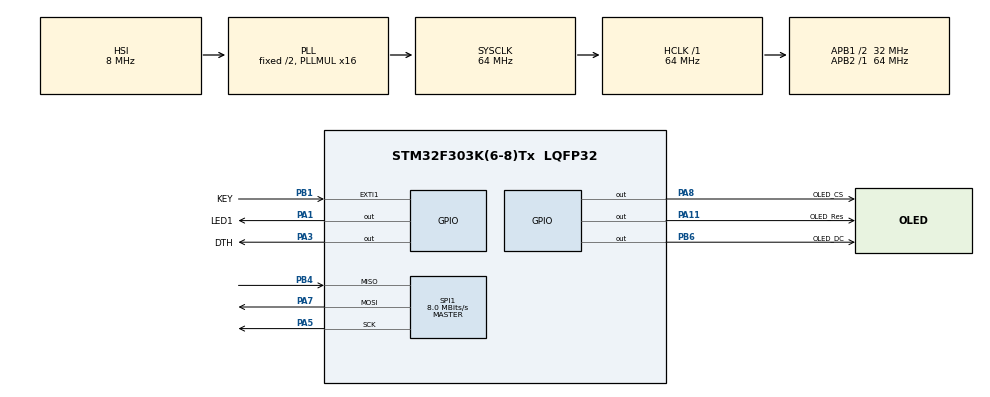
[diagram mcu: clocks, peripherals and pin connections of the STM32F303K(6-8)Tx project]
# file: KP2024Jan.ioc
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Mcu.Family=STM32F3
Mcu.Name=STM32F303K(6-8)Tx
Mcu.Package=LQFP32
NVIC.EXTI1_IRQn=true\:0\:0\:true\:false\:true\:true\:true\:true
NVIC.PriorityGroup=NVIC_PRIORITYGROUP_4
NVIC.TIM3_IRQn=true\:0\:0\:false\:false\:true\:true\:true\:true
PA1.GPIO_Label=LED1
PA1.Signal=GPIO_Output
PA11.GPIO_Label=OLED_Res
PA11.GPIO_Speed=GPIO_SPEED_FREQ_HIGH
PA11.Signal=GPIO_Output
PA3.GPIO_Label=DTH
PA3.Signal=GPIO_Output
PA5.Mode=Full_Duplex_Master
PA5.Signal=SPI1_SCK
PA7.Mode=Full_Duplex_Master
PA7.Signal=SPI1_MOSI
PA8.GPIO_Label=OLED_CS
PA8.Signal=GPIO_Output
PB1.GPIO_Label=KEY
PB1.GPIO_PuPd=GPIO_PULLUP
PB1.Signal=GPXTI1
PB4.Mode=Full_Duplex_Master
PB4.Signal=SPI1_MISO
PB6.GPIO_Label=OLED_DC
PB6.GPIO_Speed=GPIO_SPEED_FREQ_HIGH
PB6.Signal=GPIO_Output
ProjectManager.HeapSize=0x200
ProjectManager.StackSize=0x400
ProjectManager.TargetToolchain=STM32CubeIDE
RCC.AHBFreq_Value=64000000
RCC.APB1CLKDivider=RCC_HCLK_DIV2
RCC.APB1Freq_Value=32000000
RCC.APB1TimFreq_Value=64000000
RCC.APB2Freq_Value=64000000
RCC.APB2TimFreq_Value=64000000
RCC.CortexFreq_Value=64000000
RCC.HCLKFreq_Value=64000000
RCC.HSE_VALUE=8000000
RCC.HSI_VALUE=8000000
RCC.PLLMUL=RCC_PLL_MUL16
RCC.SYSCLKFreq_VALUE=64000000
RCC.SYSCLKSourceVirtual=RCC_SYSCLKSOURCE_PLLCLK
SPI1.BaudRatePrescaler=SPI_BAUDRATEPRESCALER_8
SPI1.CalculateBaudRate=8.0 MBits/s
SPI1.DataSize=SPI_DATASIZE_8BIT
SPI1.Direction=SPI_DIRECTION_2LINES
SPI1.Mode=SPI_MODE_MASTER
SPI1.VirtualType=VM_MASTER
TIM3.Period=59998
TIM3.Prescaler=63999
VP_TIM3_VS_ClockSourceINT.Mode=Internal
board=custom

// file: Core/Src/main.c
/* USER CODE BEGIN Header */
/**
 ******************************************************************************
 * @file           : main.c
 * @brief          : Main program body
 ******************************************************************************
 * @attention
 *
 * Copyright (c) 2024 STMicroelectronics.
 * All rights reserved.
 *
 * This software is licensed under terms that can be found in the LICENSE file
 * in the root directory of this software component.
 * If no LICENSE file comes with this software, it is provided AS-IS.
 *
 ******************************************************************************
 */
/* USER CODE END Header */
#include "main.h"

/* USER CODE BEGIN Includes */
#include "stdio.h"
#include "string.h"

#include "DHT.h"
#include "ssd1306.h"
#include "ssd1306_fonts.h"
#include "scheduler.h"
/* USER CODE END Includes */

SPI_HandleTypeDef hspi1;

TIM_HandleTypeDef htim3;

/* USER CODE BEGIN PV */
#define MAX_SAMPLES 60  // Зберігати останні 60 вимірювань (1 година)

typedef enum {
  DISP_TEMP,
  DISP_HUM,
  DISP_TEMP_AVG,
  DISP_HUM_AVG,
} DisplayMode_t;

float temp_buffer[MAX_SAMPLES];  // Буфер для зберігання температури
float hum_buffer[MAX_SAMPLES]; // Буфер для зберігання вологості
uint8_t buffer_index = 0;

DisplayMode_t display_mode = DISP_TEMP;

DHT_sensor dth22;
uint8_t isPrepared = 0;
/* USER CODE END PV */

void SystemClock_Config(void);
static void MX_GPIO_Init(void);
static void MX_SPI1_Init(void);
static void MX_TIM3_Init(void);
/* USER CODE BEGIN PFP */
void StartTaskByMode(void);
void MeasureTask(void);
void DisplayTempTask(void);
void DisplayHumTask(void);
void DisplayTempAvgTask(void);
void DisplayHumAvgTask(void);
/* USER CODE END PFP */

/* USER CODE BEGIN 0 */

void HAL_TIM_PeriodElapsedCallback(TIM_HandleTypeDef *htim) {
	if (htim->Instance == TIM3) {
		 SetTask(MeasureTask);
	}
}

void HAL_GPIO_EXTI_Callback(uint16_t GPIO_Pin) {
	if (GPIO_Pin == KEY_Pin) {
		display_mode = (DisplayMode_t)((display_mode + 1) % 4);
		StartTaskByMode();
	}
}

void StartTaskByMode(void) {
	switch (display_mode) {
	case DISP_TEMP:
		SetTask(DisplayTempTask);
		break;
	case DISP_HUM:
		SetTask(DisplayHumTask);
		break;
	case DISP_TEMP_AVG:
		SetTask(DisplayTempAvgTask);
		break;
	case DISP_HUM_AVG:
		SetTask(DisplayHumAvgTask);
		break;
	}
}

void UpdateDisplay(char* name, char* value) {
	ssd1306_Fill(White);
	ssd1306_SetCursor(2, 10);
	ssd1306_WriteString(name, Font_11x18, Black);
	ssd1306_SetCursor(2, 30);
	ssd1306_WriteString(value, Font_16x26, Black);
	ssd1306_UpdateScreen();
}

float CalculateAverage(float* values, uint8_t size) {
	float sum = 0;
	for (uint8_t i = 0; i < size; i++) {
		sum += values[i];
	}
	return sum / size;
}

float CalculateMaxDeviation(float* values, uint8_t size, float average) {
	float maxDeviation = 0;
	for (uint8_t i = 0; i < size; i++) {
		float deviation = fabs(values[i] - average);
		if (deviation > maxDeviation) {
			maxDeviation = deviation;
		}
	}
	return maxDeviation;
}

void MeasureTask(void) {
	DHT_data dth22Data = DHT_getData(&dth22);
	temp_buffer[buffer_index] = dth22Data.temp;
	hum_buffer[buffer_index] = dth22Data.hum;
	buffer_index = (buffer_index + 1) % MAX_SAMPLES;
	StartTaskByMode();
}

void DisplayTempTask(void) {
	char msgTemp[20];
	float current_temp = temp_buffer[buffer_index -1];
	sprintf(msgTemp, "%d'C", (uint8_t) current_temp);
	UpdateDisplay("TEMP", &msgTemp);
}

void DisplayHumTask(void) {
	char msgHum[20];
	float current_hum = hum_buffer[buffer_index - 1];
	sprintf(msgHum, "%d%%", (uint8_t) current_hum);
	UpdateDisplay("HUM", &msgHum);
}

void DisplayTempAvgTask(void) {
	float temp_average = CalculateAverage(hum_buffer, MAX_SAMPLES);
	float temp_deviation = CalculateMaxDeviation(hum_buffer, MAX_SAMPLES, temp_average);
	char msg_max_deviation[20];
	sprintf(msg_max_deviation, "%d'C", (uint8_t) temp_deviation);
	UpdateDisplay("TEMP AVG", &msg_max_deviation);
}

void DisplayHumAvgTask(void) {
	float hum_average = CalculateAverage(hum_buffer, MAX_SAMPLES);
	float hum_deviation = CalculateMaxDeviation(hum_buffer, MAX_SAMPLES, hum_average);
	char msg_max_deviation[20];
	sprintf(msg_max_deviation, "%d%%", (uint8_t) hum_deviation);
	UpdateDisplay("HUM AVG", &msg_max_deviation);
}
/* USER CODE END 0 */

int main(void) {

	/* MCU Configuration--------------------------------------------------------*/

	/* Reset of all peripherals, Initializes the Flash interface and the Systick. */
	HAL_Init();

	/* Configure the system clock */
	SystemClock_Config();

	/* Initialize all configured peripherals */
	MX_GPIO_Init();
	MX_SPI1_Init();
	MX_TIM3_Init();
	/* USER CODE BEGIN 2 */
	ssd1306_Init();

	dth22.DHT_Port = GPIOA;
	dth22.DHT_Pin = GPIO_PIN_3;
	dth22.type = DHT22;
	dth22.pullUp = GPIO_NOPULL;

	InitScheduler();
	/* USER CODE END 2 */

	/* Infinite loop */
	/* USER CODE BEGIN WHILE */
	while (1) {
		TaskManager();

		if (!isPrepared) {
			UpdateDisplay("Loading...", "");
			HAL_Delay(500);
			HAL_TIM_Base_Start_IT(&htim3);
			isPrepared = 1;
		}
		/* USER CODE END WHILE */

	}
}

void SystemClock_Config(void)
{
  RCC_OscInitTypeDef RCC_OscInitStruct = {0};
  RCC_ClkInitTypeDef RCC_ClkInitStruct = {0};

  /** Initializes the RCC Oscillators according to the specified parameters
  * in the RCC_OscInitTypeDef structure.
  */
  RCC_OscInitStruct.OscillatorType = RCC_OSCILLATORTYPE_HSI;
  RCC_OscInitStruct.HSIState = RCC_HSI_ON;
  RCC_OscInitStruct.HSICalibrationValue = RCC_HSICALIBRATION_DEFAULT;
  RCC_OscInitStruct.PLL.PLLState = RCC_PLL_ON;
  RCC_OscInitStruct.PLL.PLLSource = RCC_PLLSOURCE_HSI;
  RCC_OscInitStruct.PLL.PLLMUL = RCC_PLL_MUL16;
  if (HAL_RCC_OscConfig(&RCC_OscInitStruct) != HAL_OK)
  {
    Error_Handler();
  }

  /** Initializes the CPU, AHB and APB buses clocks
  */
  RCC_ClkInitStruct.ClockType = RCC_CLOCKTYPE_HCLK|RCC_CLOCKTYPE_SYSCLK
                              |RCC_CLOCKTYPE_PCLK1|RCC_CLOCKTYPE_PCLK2;
  RCC_ClkInitStruct.SYSCLKSource = RCC_SYSCLKSOURCE_PLLCLK;
  RCC_ClkInitStruct.AHBCLKDivider = RCC_SYSCLK_DIV1;
  RCC_ClkInitStruct.APB1CLKDivider = RCC_HCLK_DIV2;
  RCC_ClkInitStruct.APB2CLKDivider = RCC_HCLK_DIV1;

  if (HAL_RCC_ClockConfig(&RCC_ClkInitStruct, FLASH_LATENCY_2) != HAL_OK)
  {
    Error_Handler();
  }
}

static void MX_SPI1_Init(void)
{

  /* SPI1 parameter configuration*/
  hspi1.Instance = SPI1;
  hspi1.Init.Mode = SPI_MODE_MASTER;
  hspi1.Init.Direction = SPI_DIRECTION_2LINES;
  hspi1.Init.DataSize = SPI_DATASIZE_8BIT;
  hspi1.Init.CLKPolarity = SPI_POLARITY_LOW;
  hspi1.Init.CLKPhase = SPI_PHASE_1EDGE;
  hspi1.Init.NSS = SPI_NSS_SOFT;
  hspi1.Init.BaudRatePrescaler = SPI_BAUDRATEPRESCALER_8;
  hspi1.Init.FirstBit = SPI_FIRSTBIT_MSB;
  hspi1.Init.TIMode = SPI_TIMODE_DISABLE;
  hspi1.Init.CRCCalculation = SPI_CRCCALCULATION_DISABLE;
  hspi1.Init.CRCPolynomial = 7;
  hspi1.Init.CRCLength = SPI_CRC_LENGTH_DATASIZE;
  hspi1.Init.NSSPMode = SPI_NSS_PULSE_ENABLE;
  if (HAL_SPI_Init(&hspi1) != HAL_OK)
  {
    Error_Handler();
  }

}

static void MX_TIM3_Init(void)
{

  TIM_ClockConfigTypeDef sClockSourceConfig = {0};
  TIM_MasterConfigTypeDef sMasterConfig = {0};

  htim3.Instance = TIM3;
  htim3.Init.Prescaler = 63999;
  htim3.Init.CounterMode = TIM_COUNTERMODE_UP;
  htim3.Init.Period = 59998;
  htim3.Init.ClockDivision = TIM_CLOCKDIVISION_DIV1;
  htim3.Init.AutoReloadPreload = TIM_AUTORELOAD_PRELOAD_DISABLE;
  if (HAL_TIM_Base_Init(&htim3) != HAL_OK)
  {
    Error_Handler();
  }
  sClockSourceConfig.ClockSource = TIM_CLOCKSOURCE_INTERNAL;
  if (HAL_TIM_ConfigClockSource(&htim3, &sClockSourceConfig) != HAL_OK)
  {
    Error_Handler();
  }
  sMasterConfig.MasterOutputTrigger = TIM_TRGO_RESET;
  sMasterConfig.MasterSlaveMode = TIM_MASTERSLAVEMODE_DISABLE;
  if (HAL_TIMEx_MasterConfigSynchronization(&htim3, &sMasterConfig) != HAL_OK)
  {
    Error_Handler();
  }

}

static void MX_GPIO_Init(void)
{
  GPIO_InitTypeDef GPIO_InitStruct = {0};

  /* GPIO Ports Clock Enable */
  __HAL_RCC_GPIOA_CLK_ENABLE();
  __HAL_RCC_GPIOB_CLK_ENABLE();

  /*Configure GPIO pin Output Level */
  HAL_GPIO_WritePin(GPIOA, LED1_Pin|DTH_Pin|OLED_CS_Pin|OLED_Res_Pin, GPIO_PIN_RESET);

  /*Configure GPIO pin Output Level */
  HAL_GPIO_WritePin(OLED_DC_GPIO_Port, OLED_DC_Pin, GPIO_PIN_RESET);

  /*Configure GPIO pins : LED1_Pin DTH_Pin OLED_CS_Pin */
  GPIO_InitStruct.Pin = LED1_Pin|DTH_Pin|OLED_CS_Pin;
  GPIO_InitStruct.Mode = GPIO_MODE_OUTPUT_PP;
  GPIO_InitStruct.Pull = GPIO_NOPULL;
  GPIO_InitStruct.Speed = GPIO_SPEED_FREQ_LOW;
  HAL_GPIO_Init(GPIOA, &GPIO_InitStruct);

  /*Configure GPIO pin : KEY_Pin */
  GPIO_InitStruct.Pin = KEY_Pin;
  GPIO_InitStruct.Mode = GPIO_MODE_IT_RISING;
  GPIO_InitStruct.Pull = GPIO_PULLUP;
  HAL_GPIO_Init(KEY_GPIO_Port, &GPIO_InitStruct);

  /*Configure GPIO pin : OLED_Res_Pin */
  GPIO_InitStruct.Pin = OLED_Res_Pin;
  GPIO_InitStruct.Mode = GPIO_MODE_OUTPUT_PP;
  GPIO_InitStruct.Pull = GPIO_NOPULL;
  GPIO_InitStruct.Speed = GPIO_SPEED_FREQ_HIGH;
  HAL_GPIO_Init(OLED_Res_GPIO_Port, &GPIO_InitStruct);

  /*Configure GPIO pin : OLED_DC_Pin */
  GPIO_InitStruct.Pin = OLED_DC_Pin;
  GPIO_InitStruct.Mode = GPIO_MODE_OUTPUT_PP;
  GPIO_InitStruct.Pull = GPIO_NOPULL;
  GPIO_InitStruct.Speed = GPIO_SPEED_FREQ_HIGH;
  HAL_GPIO_Init(OLED_DC_GPIO_Port, &GPIO_InitStruct);

  /* EXTI interrupt init*/
  HAL_NVIC_SetPriority(EXTI1_IRQn, 0, 0);
  HAL_NVIC_EnableIRQ(EXTI1_IRQn);

}

void Error_Handler(void)
{
	__disable_irq();
	while (1) {
	}
}
